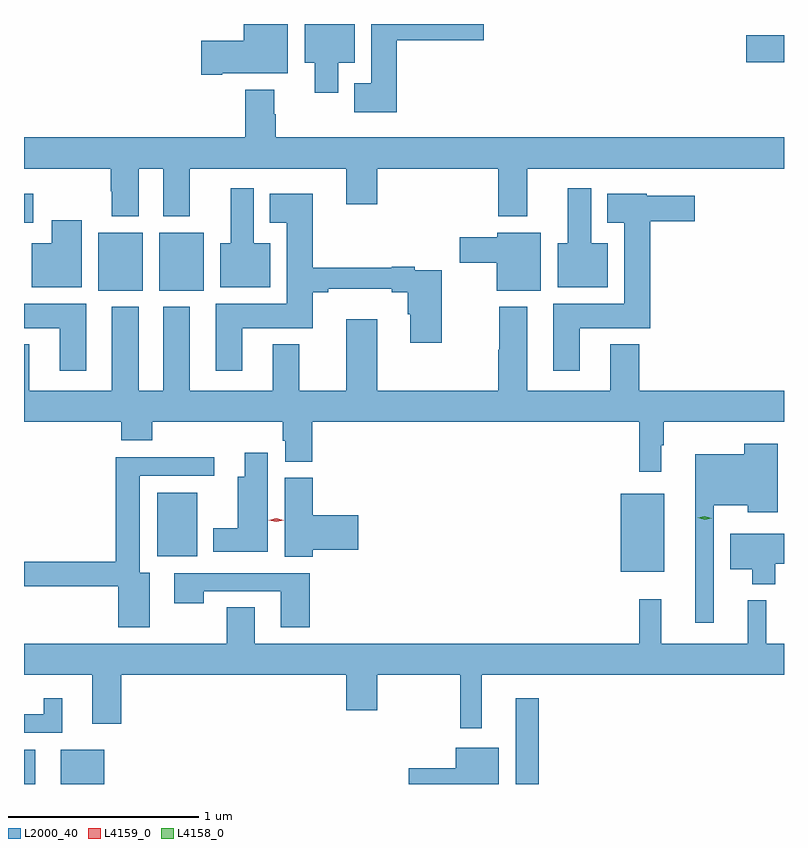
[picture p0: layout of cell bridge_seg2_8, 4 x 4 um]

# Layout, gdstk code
import gdstk
lib = gdstk.Library(unit=1e-6, precision=1e-09)
def R(c, l, rs):  # rectangles x0, y0, x1, y1
    for r in rs: c.add(gdstk.rectangle(r[:2], r[2:], *l))
def P(c, l, *ps):  # polygons
    for p in ps: c.add(gdstk.Polygon(p, *l))
L2000_40 = (2000, 40)
L4158_0 = (4158, 0)
L4159_0 = (4159, 0)

bridge_seg2_8 = lib.new_cell('bridge_seg2_8')
R(bridge_seg2_8, L2000_40, [(690.784,661.713,690.844,661.894), (690.977,661.713,691.207,661.894), (693.371,661.713,693.493,662.164), (693.926,662.831,694.153,663.241), (691.484,662.912,691.696,663.247), (691.175,664.31,691.408,664.615), (691.496,664.31,691.729,664.615), (690.784,664.667,690.832,664.819), (694.584,665.512,694.784,665.654)])
P(bridge_seg2_8, L2000_40, [(691.828,665.453),(692.173,665.453),(692.173,665.713),(691.94,665.713),(691.94,665.624),(691.716,665.624),(691.716,665.446),(691.828,665.446)],
  [(692.437,665.51),(692.524,665.51),(692.524,665.713),(692.261,665.713),(692.261,665.51),(692.315,665.51),(692.315,665.352),(692.437,665.352)],
  [(692.747,665.627),(693.205,665.627),(693.205,665.713),(692.612,665.713),(692.612,665.401),(692.522,665.401),(692.522,665.249),(692.747,665.249)],
  [(691.387,664.952),(691.517,664.952),(691.517,664.7),(691.657,664.7),(691.657,664.952),(692.48,664.952),(692.48,664.764),(692.644,664.764),(692.644,664.952),(693.281,664.952),(693.281,664.7),(693.433,664.7),(693.433,664.952),(694.784,664.952),(694.784,665.116),(692.109,665.116),(692.109,665.237),(692.101,665.237),(692.101,665.368),(691.949,665.368),(691.949,665.116),(690.784,665.116),(690.784,664.952),(691.24,664.952),(691.24,664.832),(691.247,664.832),(691.247,664.7),(691.387,664.7)],
  [(692.08,664.558),(691.993,664.558),(691.993,664.849),(691.871,664.849),(691.871,664.558),(691.817,664.558),(691.817,664.328),(692.08,664.328)],
  [(693.856,664.558),(693.769,664.558),(693.769,664.849),(693.647,664.849),(693.647,664.558),(693.593,664.558),(693.593,664.328),(693.856,664.328)],
  [(693.709,664.112),(694.079,664.112),(694.079,664.676),(694.315,664.676),(694.315,664.81),(694.062,664.81),(694.062,664.819),(693.854,664.819),(693.854,664.667),(693.944,664.667),(693.944,664.24),(693.569,664.24),(693.569,663.888),(693.709,663.888)],
  [(691.933,664.112),(692.303,664.112),(692.303,664.3),(692.386,664.3),(692.386,664.319),(692.72,664.319),(692.72,664.3),(692.804,664.3),(692.804,664.185),(692.816,664.185),(692.816,664.035),(692.982,664.035),(692.982,664.416),(692.84,664.416),(692.84,664.436),(692.72,664.436),(692.72,664.429),(692.303,664.429),(692.303,664.819),(692.078,664.819),(692.078,664.667),(692.168,664.667),(692.168,664.24),(691.793,664.24),(691.793,663.888),(691.933,663.888)],
  [(691.087,664.681),(690.929,664.681),(690.929,664.558),(690.824,664.558),(690.824,664.328),(691.087,664.328)],
  [(693.505,664.615),(693.276,664.615),(693.276,664.591),(693.078,664.591),(693.078,664.457),(693.272,664.457),(693.272,664.31),(693.505,664.31)],
  [(691.111,664.24),(690.784,664.24),(690.784,664.112),(690.971,664.112),(690.971,663.888),(691.111,663.888)],
  [(694.138,663.497),(694.15,663.497),(694.15,663.62),(694.784,663.62),(694.784,663.784),(694.022,663.784),(694.022,664.027),(693.869,664.027),(693.869,663.784),(693.433,663.784),(693.433,664.225),(693.286,664.225),(693.286,663.999),(693.281,663.999),(693.281,663.784),(692.644,663.784),(692.644,664.159),(692.48,664.159),(692.48,663.784),(692.233,663.784),(692.233,664.027),(692.093,664.027),(692.093,663.784),(691.657,663.784),(691.657,664.225),(691.517,664.225),(691.517,663.784),(691.387,663.784),(691.387,664.225),(691.247,664.225),(691.247,663.784),(690.811,663.784),(690.811,664.027),(690.784,664.027),(690.784,663.62),(691.295,663.62),(691.295,663.521),(691.46,663.521),(691.46,663.62),(692.147,663.62),(692.147,663.519),(692.159,663.519),(692.159,663.409),(692.3,663.409),(692.3,663.62),(694.021,663.62),(694.021,663.357),(694.138,663.357)],
  [(694.413,663.179),(694.592,663.179),(694.592,663.143),(694.75,663.143),(694.75,663.505),(694.575,663.505),(694.575,663.448),(694.316,663.448),(694.316,662.562),(694.413,662.562)],
  [(692.068,663.457),(691.946,663.457),(691.946,663.331),(691.91,663.331),(691.91,663.058),(691.781,663.058),(691.781,662.936),(692.068,662.936)],
  [(691.447,662.824),(691.393,662.824),(691.393,663.336),(691.786,663.336),(691.786,663.434),(691.268,663.434),(691.268,662.882),(690.784,662.882),(690.784,662.754),(691.28,662.754),(691.28,662.538),(691.447,662.538)],
  [(692.303,662.945),(692.542,662.945),(692.542,663.128),(692.303,663.128),(692.303,663.324),(692.156,663.324),(692.156,662.908),(692.303,662.908)],
  [(694.738,662.873),(694.784,662.873),(694.784,663.031),(694.502,663.031),(694.502,662.843),(694.616,662.843),(694.616,662.765),(694.738,662.765)],
  [(692.288,662.823),(691.575,662.823),(691.575,662.664),(691.731,662.664),(691.731,662.727),(692.135,662.727),(692.135,662.538),(692.288,662.538)],
  [(694.784,662.452),(694.69,662.452),(694.69,662.68),(694.592,662.68),(694.592,662.452),(694.139,662.452),(694.139,662.686),(694.021,662.686),(694.021,662.452),(691.999,662.452),(691.999,662.642),(691.852,662.642),(691.852,662.452),(690.784,662.452),(690.784,662.288),(691.142,662.288),(691.142,662.031),(691.295,662.031),(691.295,662.288),(692.48,662.288),(692.48,662.1),(692.644,662.1),(692.644,662.288),(693.079,662.288),(693.079,662.007),(693.193,662.007),(693.193,662.288),(694.784,662.288)],
  [(690.985,662.164),(690.887,662.164),(690.887,662.079),(690.784,662.079),(690.784,661.983),(690.985,661.983)],
  [(693.283,661.903),(693.056,661.903),(693.056,661.797),(692.808,661.797),(692.808,661.713),(693.283,661.713)])
P(bridge_seg2_8, L4158_0, [(694.367,663.103),(694.331,663.115),(694.331,663.115),(694.331,663.115),(694.368,663.123),(694.403,663.111),(694.403,663.111),(694.403,663.111)])
P(bridge_seg2_8, L4159_0, [(692.111,663.092),(692.072,663.101),(692.072,663.102),(692.072,663.102),(692.111,663.112),(692.15,663.102),(692.15,663.102),(692.15,663.101)])

lib.write_gds('bridge_seg2_8.gds')
